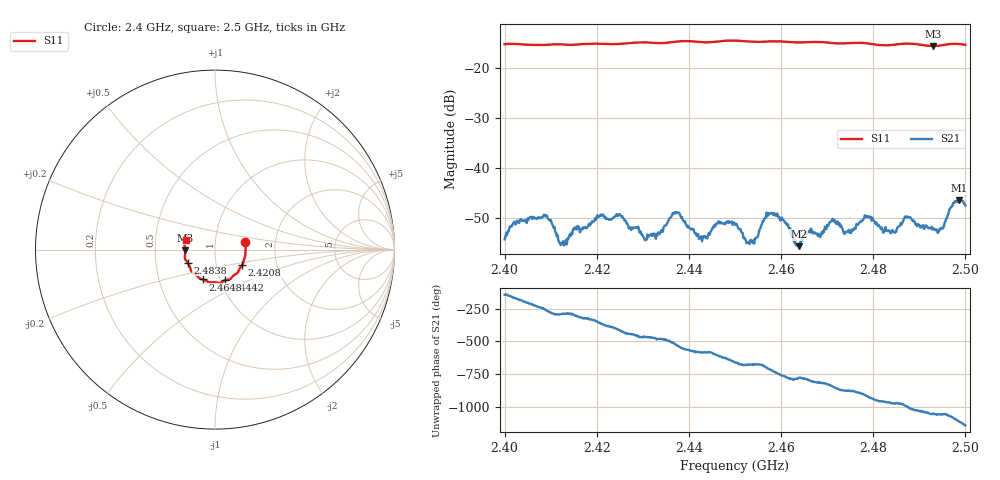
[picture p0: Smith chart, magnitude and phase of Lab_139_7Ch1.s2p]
# Hz S RI R 50
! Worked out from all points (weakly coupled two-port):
!   601 points, 2.4 GHz to 2.5 GHz, reference 50 ohm
!   highest |S21| = -46.46 dB at 2.4987 GHz (marker M1); lowest = -55.6 dB at 2.4638 GHz (marker M2)
!   lowest |S11| = -15.6 dB at 2.493 GHz (marker M3), VSWR 1.40, Z = 35.8 - j0.209 ohm
!   |S11| at or under -10 dB: start of sweep to end of sweep
!   S12 and S22 are empty: the file has one direction only
!   S11 on the Smith chart (normalised r, x): 2.4 GHz: 1.40, +0.12; 2.4208 GHz: 1.33, -0.24; 2.4442 GHz: 1.05, -0.37; 2.4648 GHz: 0.83, -0.28; 2.4838 GHz: 0.73, -0.11; 2.5 GHz: 0.72, +0.08
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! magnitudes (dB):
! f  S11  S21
! 2.4 GHz  -15.3  -54.3
! 2.4087 GHz  -15.4  -49.4
! 2.4125 GHz  -15.3  -55.2
! 2.4167 GHz  -15.2  -52.2
! 2.4208 GHz  -15.2  -49.3
! 2.4333 GHz  -15.0  -52.9
! 2.4373 GHz  -14.7  -48.9
! 2.4442 GHz  -14.9  -53.4
! 2.45 GHz  -14.5  -51.3
! 2.4537 GHz  -14.8  -54.8
! 2.4582 GHz  -14.7  -49.1
! 2.4638 GHz  -14.9  -55.6
! 2.4648 GHz  -14.9  -53.7
! 2.4667 GHz  -14.8  -52.5
! 2.4747 GHz  -15.0  -52.4
! 2.4787 GHz  -15.1  -49.9
! 2.4833 GHz  -15.5  -52.5
! 2.4838 GHz  -15.4  -53.1
! 2.4873 GHz  -15.1  -49.9
! 2.493 GHz  -15.6  -52.0
! 2.4987 GHz  -15.2  -46.5
! 2.5 GHz  -15.3  -47.5
